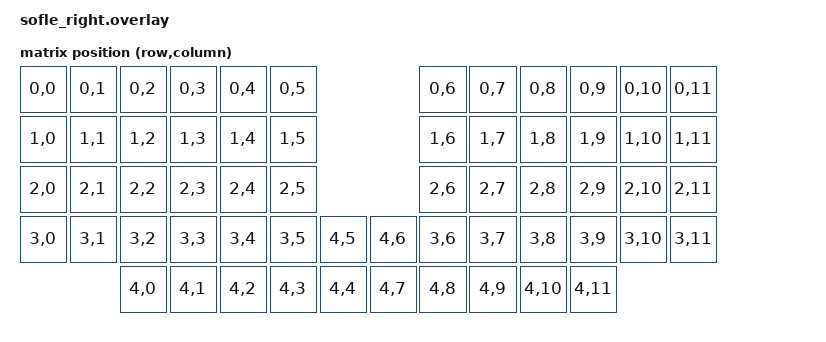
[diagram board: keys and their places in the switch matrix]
#include <dt-bindings/zmk/matrix_transform.h>
#include <layouts/josefadamcik/sofle.dtsi>
#include <dt-bindings/led/led.h>
#include <zephyr/dt-bindings/i2c/i2c.h>
#include <dt-bindings/pinctrl/nrf-pinctrl.h>

&josefadamcik_sofle_layout {
    transform = <&default_transform>;
};

&pinctrl {
    /* Rewire I2C0 to D4/D5 (P0.22/P0.24) for Azoteq TSP43 */
    i2c0_rewired_default: i2c0_rewired_default {
        group1 {
            psels = <NRF_PSEL(TWIM_SDA, 0, 22)>,
                    <NRF_PSEL(TWIM_SCL, 0, 24)>;
        };
    };

    i2c0_rewired_sleep: i2c0_rewired_sleep {
        group1 {
            psels = <NRF_PSEL(TWIM_SDA, 0, 22)>,
                    <NRF_PSEL(TWIM_SCL, 0, 24)>;
            low-power-enable;
        };
    };

    /* SPI3 for RGB - dummy config for dongle */
    spi3_default: spi3_default {
        group1 {
            psels = <NRF_PSEL(SPIM_MOSI, 0, 6)>;
        };
    };

    spi3_sleep: spi3_sleep {
        group1 {
            psels = <NRF_PSEL(SPIM_MOSI, 0, 6)>;
            low-power-enable;
        };
    };
};

/* SPI3 for RGB underglow - dummy config with 0 LEDs for dongle */
&spi3 {
    status = "okay";
    compatible = "nordic,nrf-spim";

    pinctrl-0 = <&spi3_default>;
    pinctrl-1 = <&spi3_sleep>;
    pinctrl-names = "default", "sleep";

    led_strip: ws2812@0 {
        compatible = "worldsemi,ws2812-spi";

        /* SPI */
        reg = <0>; /* ignored, but necessary for SPI bindings */
        spi-max-frequency = <1000000>;

        /* WS2812 */
        chain-length = <30>; /* 29 keys have underglow at the moment */
        spi-one-frame = <0x70>;
        spi-zero-frame = <0x40>;

        color-mapping = <LED_COLOR_ID_GREEN LED_COLOR_ID_RED LED_COLOR_ID_BLUE>;
    };
};

&i2c0 {
    status = "okay";
    clock-frequency = <I2C_BITRATE_FAST>;

    /* Use rewired pins for I2C0 */
    pinctrl-0 = <&i2c0_rewired_default>;
    pinctrl-1 = <&i2c0_rewired_sleep>;
    pinctrl-names = "default", "sleep";

    tps43: iqs5xx@74 {
        status = "okay";
        compatible = "azoteq,iqs5xx";
        reg = <0x74>;

        /* Input configuration */
        one-finger-tap;
        press-and-hold;
        press-and-hold-time = <250>;
        two-finger-tap;

        scroll;
        natural-scroll-y;
        natural-scroll-x;

        bottom-beta = <5>;
        stationary-threshold = <5>;

        flip-y;

        /* Correct GPIO mapping for Nice Nano v2 physical connections:
         * RST - P1.11 (Nice Nano pin 1.11) - D14
         * RDY - P1.13 (Nice Nano pin 1.13) - D15
         */
        reset-gpios = <&pro_micro 14 GPIO_ACTIVE_LOW>;
        rdy-gpios = <&pro_micro 15 GPIO_ACTIVE_HIGH>;

    };
};

/ {
    chosen {
        zmk,kscan = &mock_kscan;
        zmk,physical-layout = &josefadamcik_sofle_layout;
        zmk,underglow = &led_strip;
    };

    default_transform: keymap_transform_0 {
        compatible = "zmk,matrix-transform";
        columns = <16>;
        rows = <4>;
// | SW6  | SW5  | SW4  | SW3  | SW2  | SW1  |                 | SW1  | SW2  | SW3  | SW4  | SW5  | SW6  |
// | SW12 | SW11 | SW10 | SW9  | SW8  | SW7  |                 | SW7  | SW8  | SW9  | SW10 | SW11 | SW12 |
// | SW18 | SW17 | SW16 | SW15 | SW14 | SW13 |                 | SW13 | SW14 | SW15 | SW16 | SW17 | SW18 |
// | SW24 | SW23 | SW22 | SW21 | SW20 | SW19 | SW25 |   | SW25 | SW19 | SW20 | SW21 | SW22 | SW23 | SW24 |
//               | SW30 | SW29 | SW28 | SW27 | SW26 |   | SW26 | SW27 | SW28 | SW29 | SW30 |
        map = <
RC(0,0) RC(0,1) RC(0,2) RC(0,3) RC(0,4) RC(0,5)                 RC(0,6) RC(0,7) RC(0,8)  RC(0,9) RC(0,10) RC(0,11)
RC(1,0) RC(1,1) RC(1,2) RC(1,3) RC(1,4) RC(1,5)                 RC(1,6) RC(1,7) RC(1,8)  RC(1,9) RC(1,10) RC(1,11)
RC(2,0) RC(2,1) RC(2,2) RC(2,3) RC(2,4) RC(2,5)                 RC(2,6) RC(2,7) RC(2,8)  RC(2,9) RC(2,10) RC(2,11)
RC(3,0) RC(3,1) RC(3,2) RC(3,3) RC(3,4) RC(3,5) RC(4,5) RC(4,6) RC(3,6) RC(3,7) RC(3,8)  RC(3,9) RC(3,10) RC(3,11)
                RC(4,0) RC(4,1) RC(4,2) RC(4,3) RC(4,4) RC(4,7) RC(4,8) RC(4,9) RC(4,10) RC(4,11)
        >;
    };

    tps43_input: tps43_input {
        compatible = "zmk,input-listener";
        device = <&tps43>;
    };

    mock_kscan: mock_kscan_0 {
        compatible = "zmk,kscan-mock";
        columns = <0>;
        rows = <0>;
        events = <0>;
    };

};
